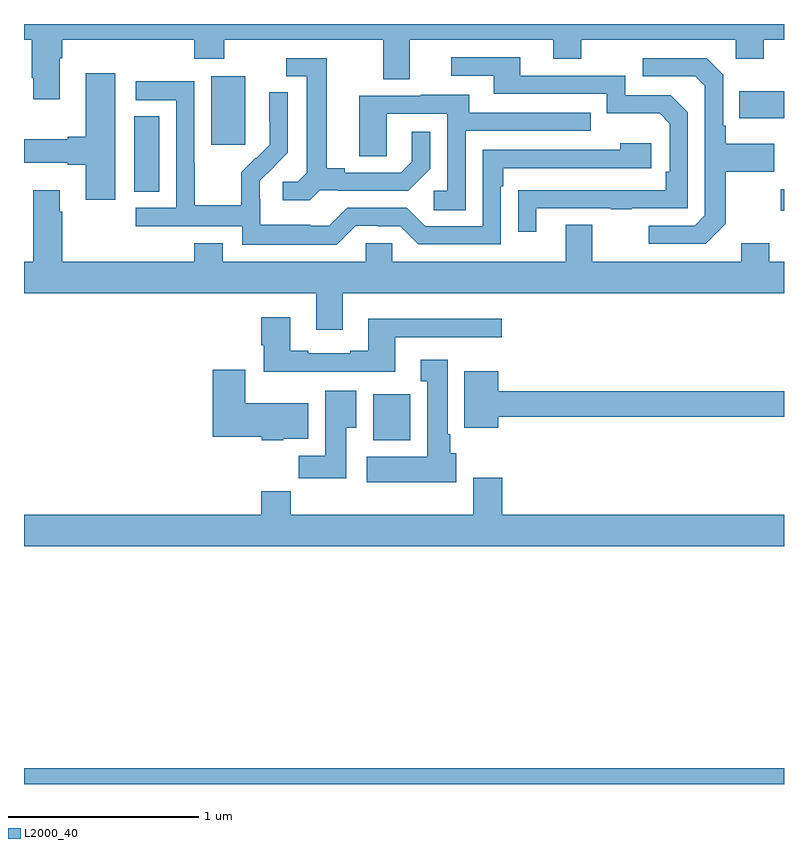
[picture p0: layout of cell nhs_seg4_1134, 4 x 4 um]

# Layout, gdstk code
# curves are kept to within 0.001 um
import gdstk
lib = gdstk.Library(unit=1e-6, precision=1e-09)
def R(c, l, rs):  # rectangles x0, y0, x1, y1
    for r in rs: c.add(gdstk.rectangle(r[:2], r[2:], *l))
def P(c, l, *ps):  # polygons
    for p in ps: c.add(gdstk.Polygon(p, *l))
L2000_40 = (2000, 40)

nhs_seg4_1134 = lib.new_cell('nhs_seg4_1134')
R(nhs_seg4_1134, L2000_40, [(169,796.9,173,796.984), (170.837,798.71,171.034,798.952), (172.983,799.917,173,800.03), (169.58,800.017,169.711,800.414), (169.985,800.265,170.164,800.626), (172.765,800.405,173,800.545)])
P(nhs_seg4_1134, L2000_40, [(169.189,800.72),(169.202,800.72),(169.202,800.816),(169.895,800.816),(169.895,800.717),(170.055,800.717),(170.055,800.816),(170.891,800.816),(170.891,800.608),(171.031,800.608),(171.031,800.816),(171.785,800.816),(171.785,800.717),(171.933,800.717),(171.933,800.816),(172.746,800.816),(172.746,800.717),(172.893,800.717),(172.893,800.816),(173,800.816),(173,800.9),(169,800.9),(169,800.816),(169.042,800.816),(169.042,800.617),(169.049,800.617),(169.049,800.505),(169.189,800.505)],
  [(171.697,799.929),(172.087,799.929),(172.087,799.924),(172.199,799.924),(172.199,799.929),(172.494,799.929),(172.494,800.436),(172.404,800.526),(172.164,800.526),(172.164,800.628),(171.613,800.628),(171.613,800.724),(171.249,800.724),(171.249,800.628),(171.473,800.628),(171.473,800.532),(172.068,800.532),(172.068,800.429),(172.345,800.429),(172.398,800.376),(172.398,800.122),(172.378,800.122),(172.378,800.025),(171.601,800.024),(171.601,799.806),(171.697,799.806)],
  [(170.556,800.025),(170.65,800.025),(170.65,800.022),(171.022,800.022),(171.138,800.138),(171.138,800.332),(171.041,800.332),(171.041,800.175),(170.984,800.118),(170.689,800.118),(170.689,800.141),(170.593,800.141),(170.593,800.721),(170.379,800.721),(170.379,800.625),(170.489,800.625),(170.489,800.117),(170.442,800.07),(170.361,800.07),(170.361,799.973),(170.504,799.973)],
  [(172.693,799.849),(172.693,800.122),(172.949,800.122),(172.949,800.269),(172.693,800.269),(172.693,800.365),(172.68,800.365),(172.68,800.634),(172.593,800.721),(172.257,800.721),(172.257,800.625),(172.533,800.625),(172.584,800.574),(172.584,799.893),(172.53,799.839),(172.287,799.839),(172.287,799.743),(172.587,799.743)],
  [(169.48,800.641),(169.325,800.641),(169.325,800.306),(169.229,800.306),(169.229,800.293),(169,800.293),(169,800.171),(169.229,800.171),(169.229,800.159),(169.325,800.159),(169.325,799.974),(169.48,799.974)],
  [(170.745,799.839),(170.861,799.839),(170.861,799.836),(170.979,799.836),(171.075,799.74),(171.51,799.74),(171.51,800.045),(171.523,800.045),(171.523,800.142),(172.3,800.142),(172.3,800.272),(172.139,800.272),(172.139,800.238),(171.414,800.238),(171.414,799.836),(171.111,799.836),(171.015,799.932),(170.7,799.932),(170.607,799.839),(170.507,799.839),(170.507,799.843),(170.244,799.843),(170.244,799.977),(170.242,799.977),(170.242,800.074),(170.388,800.222),(170.388,800.54),(170.292,800.54),(170.292,800.386),(170.294,800.386),(170.294,800.264),(170.223,800.193),(170.22,800.196),(170.143,800.119),(170.143,799.945),(169.899,799.945),(169.899,800.168),(169.896,800.168),(169.896,800.598),(169.587,800.598),(169.587,800.499),(169.8,800.499),(169.8,799.932),(169.587,799.932),(169.587,799.836),(170.148,799.836),(170.148,799.739),(170.645,799.739)],
  [(171.324,800.337),(171.983,800.337),(171.983,800.433),(171.343,800.433),(171.343,800.527),(171.089,800.527),(171.089,800.523),(170.765,800.523),(170.765,800.203),(170.91,800.203),(170.91,800.427),(171.228,800.427),(171.228,800.022),(171.156,800.022),(171.156,799.921),(171.324,799.921)],
  [(169.189,799.913),(169.189,800.026),(169.049,800.026),(169.049,799.648),(169,799.648),(169,799.484),(170.537,799.484),(170.537,799.29),(170.677,799.29),(170.677,799.484),(173,799.484),(173,799.648),(172.923,799.648),(172.923,799.747),(172.775,799.747),(172.775,799.648),(171.991,799.648),(171.991,799.843),(171.851,799.843),(171.851,799.648),(170.937,799.648),(170.937,799.746),(170.799,799.746),(170.799,799.648),(170.047,799.648),(170.047,799.747),(169.895,799.747),(169.895,799.648),(169.202,799.648),(169.202,799.913)],
  [(170.489,799.071),(170.953,799.071),(170.953,799.251),(171.514,799.251),(171.514,799.348),(170.813,799.348),(170.813,799.18),(170.717,799.18),(170.717,799.167),(170.497,799.167),(170.497,799.18),(170.401,799.18),(170.401,799.357),(170.249,799.357),(170.249,799.209),(170.261,799.209),(170.261,799.07),(170.489,799.07)],
  [(171.274,798.642),(171.244,798.642),(171.244,798.742),(171.229,798.742),(171.229,799.132),(171.089,799.132),(171.089,799.019),(171.122,799.019),(171.122,798.622),(170.805,798.622),(170.805,798.488),(171.274,798.488)],
  [(170.364,798.716),(170.497,798.716),(170.497,798.904),(170.164,798.904),(170.164,799.081),(169.994,799.081),(169.994,798.728),(170.25,798.728),(170.25,798.71),(170.364,798.71)],
  [(171.496,798.832),(173,798.832),(173,798.968),(171.496,798.968),(171.496,799.072),(171.317,799.072),(171.317,798.776),(171.496,798.776)],
  [(170.695,798.776),(170.749,798.776),(170.749,798.97),(170.585,798.97),(170.585,798.628),(170.446,798.628),(170.446,798.51),(170.695,798.51)],
  [(173,798.316),(171.518,798.316),(171.518,798.511),(171.365,798.511),(171.365,798.316),(170.405,798.316),(170.405,798.44),(170.249,798.44),(170.249,798.316),(169,798.316),(169,798.152),(173,798.152)])

lib.write_gds('nhs_seg4_1134.gds')
